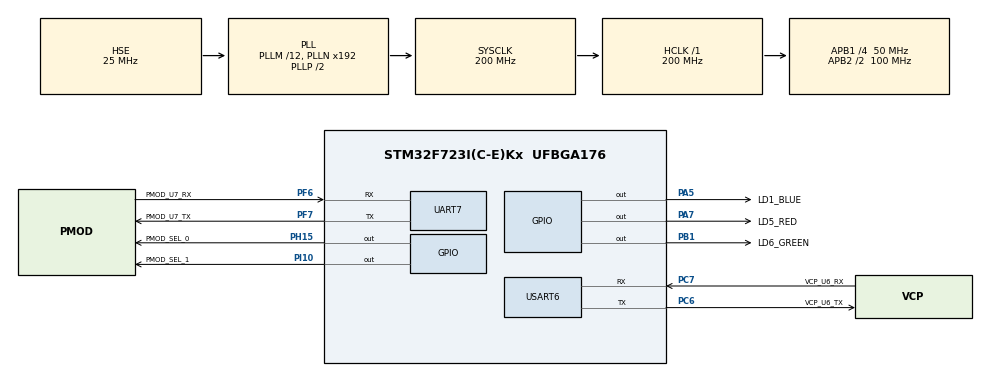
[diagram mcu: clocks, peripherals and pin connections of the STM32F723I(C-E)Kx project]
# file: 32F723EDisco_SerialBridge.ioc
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CORTEX_M7.CPU_ICache=Disabled
CORTEX_M7.PREFETCH_ENABLE=0
Dma.Request0=UART7_TX
Dma.Request1=USART6_TX
Dma.UART7_TX.0.Direction=DMA_MEMORY_TO_PERIPH
Dma.UART7_TX.0.FIFOMode=DMA_FIFOMODE_DISABLE
Dma.UART7_TX.0.Instance=DMA1_Stream1
Dma.UART7_TX.0.MemDataAlignment=DMA_MDATAALIGN_BYTE
Dma.UART7_TX.0.MemInc=DMA_MINC_ENABLE
Dma.UART7_TX.0.Mode=DMA_NORMAL
Dma.UART7_TX.0.PeriphDataAlignment=DMA_PDATAALIGN_BYTE
Dma.UART7_TX.0.PeriphInc=DMA_PINC_DISABLE
Dma.UART7_TX.0.Priority=DMA_PRIORITY_LOW
Dma.USART6_TX.1.Direction=DMA_MEMORY_TO_PERIPH
Dma.USART6_TX.1.FIFOMode=DMA_FIFOMODE_DISABLE
Dma.USART6_TX.1.Instance=DMA2_Stream6
Dma.USART6_TX.1.MemDataAlignment=DMA_MDATAALIGN_BYTE
Dma.USART6_TX.1.MemInc=DMA_MINC_ENABLE
Dma.USART6_TX.1.Mode=DMA_NORMAL
Dma.USART6_TX.1.PeriphDataAlignment=DMA_PDATAALIGN_BYTE
Dma.USART6_TX.1.PeriphInc=DMA_PINC_DISABLE
Dma.USART6_TX.1.Priority=DMA_PRIORITY_LOW
Mcu.Family=STM32F7
Mcu.Name=STM32F723I(C-E)Kx
Mcu.Package=UFBGA176
NVIC.DMA1_Stream1_IRQn=true\:0\:0\:false\:false\:true\:false
NVIC.DMA2_Stream6_IRQn=true\:0\:0\:false\:false\:true\:false
NVIC.PriorityGroup=NVIC_PRIORITYGROUP_4
NVIC.UART7_IRQn=true\:0\:0\:false\:false\:true\:true
NVIC.USART6_IRQn=true\:0\:0\:false\:false\:true\:true
PA5.GPIO_Label=LD1_BLUE
PA5.GPIO_Speed=GPIO_SPEED_FREQ_HIGH
PA5.Signal=GPIO_Output
PA7.GPIO_Label=LD5_RED
PA7.GPIO_Speed=GPIO_SPEED_FREQ_HIGH
PA7.Signal=GPIO_Output
PB1.GPIO_Label=LD6_GREEN
PB1.GPIO_Speed=GPIO_SPEED_FREQ_HIGH
PB1.Signal=GPIO_Output
PC6.GPIO_Label=VCP_U6_TX
PC6.Mode=Asynchronous
PC6.Signal=USART6_TX
PC7.GPIO_Label=VCP_U6_RX
PC7.Mode=Asynchronous
PC7.Signal=USART6_RX
PF6.GPIO_Label=PMOD_U7_RX
PF6.Mode=Asynchronous
PF6.Signal=UART7_RX
PF7.GPIO_Label=PMOD_U7_TX
PF7.Mode=Asynchronous
PF7.Signal=UART7_TX
PH0-OSC_IN.Mode=HSE-External-Oscillator
PH0-OSC_IN.Signal=RCC_OSC_IN
PH1-OSC_OUT.Mode=HSE-External-Oscillator
PH1-OSC_OUT.Signal=RCC_OSC_OUT
PH15.GPIO_Label=PMOD_SEL_0
PH15.GPIO_Speed=GPIO_SPEED_FREQ_HIGH
PH15.Signal=GPIO_Output
PI10.GPIO_Label=PMOD_SEL_1
PI10.GPIO_Speed=GPIO_SPEED_FREQ_HIGH
PI10.Signal=GPIO_Output
ProjectManager.HeapSize=0x200
ProjectManager.StackSize=0x400
ProjectManager.TargetToolchain=SW4STM32
RCC.AHBFreq_Value=200000000
RCC.APB1CLKDivider=RCC_HCLK_DIV4
RCC.APB1Freq_Value=50000000
RCC.APB1TimFreq_Value=100000000
RCC.APB2CLKDivider=RCC_HCLK_DIV2
RCC.APB2Freq_Value=100000000
RCC.APB2TimFreq_Value=200000000
RCC.CortexFreq_Value=200000000
RCC.HCLKFreq_Value=200000000
RCC.HSE_VALUE=25000000
RCC.HSI_VALUE=16000000
RCC.LSE_VALUE=32768
RCC.PLLM=12
RCC.PLLQ=9
RCC.PLLSourceVirtual=RCC_PLLSOURCE_HSE
RCC.SYSCLKFreq_VALUE=200000000
RCC.SYSCLKSource=RCC_SYSCLKSOURCE_PLLCLK
RCC.USBFreq_Value=44444444.44444445
RCC.VCOOutputFreq_Value=400000000
USART6.VirtualMode-Asynchronous=VM_ASYNC
USART6.WordLength=WORDLENGTH_8B
board=STM32F723E-DISCO

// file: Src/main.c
/**
 ******************************************************************************
 * File Name          : main.c
 * Description        : Main program body
 ******************************************************************************
 ** This notice applies to any and all portions of this file
 * that are not between comment pairs USER CODE BEGIN and
 * USER CODE END. Other portions of this file, whether
 * inserted by the user or by software development tools
 * are owned by their respective copyright owners.
 *
 * COPYRIGHT(c) 2017 STMicroelectronics
 *
 * Redistribution and use in source and binary forms, with or without modification,
 * are permitted provided that the following conditions are met:
 *   1. Redistributions of source code must retain the above copyright notice,
 *      this list of conditions and the following disclaimer.
 *   2. Redistributions in binary form must reproduce the above copyright notice,
 *      this list of conditions and the following disclaimer in the documentation
 *      and/or other materials provided with the distribution.
 *   3. Neither the name of STMicroelectronics nor the names of its contributors
 *      may be used to endorse or promote products derived from this software
 *      without specific prior written permission.
 *
 * THIS SOFTWARE IS PROVIDED BY THE COPYRIGHT HOLDERS AND CONTRIBUTORS "AS IS"
 * AND ANY EXPRESS OR IMPLIED WARRANTIES, INCLUDING, BUT NOT LIMITED TO, THE
 * IMPLIED WARRANTIES OF MERCHANTABILITY AND FITNESS FOR A PARTICULAR PURPOSE ARE
 * DISCLAIMED. IN NO EVENT SHALL THE COPYRIGHT HOLDER OR CONTRIBUTORS BE LIABLE
 * FOR ANY DIRECT, INDIRECT, INCIDENTAL, SPECIAL, EXEMPLARY, OR CONSEQUENTIAL
 * DAMAGES (INCLUDING, BUT NOT LIMITED TO, PROCUREMENT OF SUBSTITUTE GOODS OR
 * SERVICES; LOSS OF USE, DATA, OR PROFITS; OR BUSINESS INTERRUPTION) HOWEVER
 * CAUSED AND ON ANY THEORY OF LIABILITY, WHETHER IN CONTRACT, STRICT LIABILITY,
 * OR TORT (INCLUDING NEGLIGENCE OR OTHERWISE) ARISING IN ANY WAY OUT OF THE USE
 * OF THIS SOFTWARE, EVEN IF ADVISED OF THE POSSIBILITY OF SUCH DAMAGE.
 *
 ******************************************************************************
 */
#include "main.h"
#include "stm32f7xx_hal.h"

/* USER CODE BEGIN Includes */
#include "stdbool.h"
#include "string.h"

/* USER CODE END Includes */

UART_HandleTypeDef huart7;
UART_HandleTypeDef huart6;
DMA_HandleTypeDef hdma_uart7_tx;
DMA_HandleTypeDef hdma_usart6_tx;

/* USER CODE BEGIN PV */
/* Private variables ---------------------------------------------------------*/
__IO bool rxUsart7Rdy = false;
__IO bool rxUsart6Rdy = false;
uint8_t rxUsart7Char[BUFFER_SIZE] = {0};
uint8_t rxUsart6Char[BUFFER_SIZE] = {0};

/* USER CODE END PV */

void SystemClock_Config(void);
static void MX_GPIO_Init(void);
static void MX_DMA_Init(void);
static void MX_USART6_UART_Init(void);
static void MX_UART7_Init(void);

/* USER CODE BEGIN PFP */
/* Private function prototypes -----------------------------------------------*/
static void uartSrc2Dest(UART_HandleTypeDef *huartSrc, UART_HandleTypeDef *huartDest, uint8_t *pData);

/* USER CODE END PFP */

int main(void)
{

	/* MCU Configuration----------------------------------------------------------*/

	/* Reset of all peripherals, Initializes the Flash interface and the Systick. */
	HAL_Init();

	/* Configure the system clock */
	SystemClock_Config();

	/* Initialize all configured peripherals */
	MX_GPIO_Init();
	MX_DMA_Init();
	MX_USART6_UART_Init();
	MX_UART7_Init();

	/* USER CODE BEGIN 2 */
	/* Activate PMOD Mux for UART7 configuration */
	HAL_GPIO_WritePin(PMOD_SEL_0_GPIO_Port, PMOD_SEL_0_Pin, GPIO_PIN_SET);

	/* Place USART6 and UART7 into Receive state with Interrupt */
	HAL_UART_Receive_IT(&huart7, (uint8_t *)rxUsart7Char, BUFFER_SIZE);
	HAL_UART_Receive_IT(&huart6, (uint8_t *)rxUsart6Char, BUFFER_SIZE);

	/* USER CODE END 2 */

	/* Infinite loop */
	/* USER CODE BEGIN WHILE */
	while (1)
	{
		/* Process any USART7 incoming char and transmit it to USART6 */
		if (rxUsart7Rdy)
		{
			/* Echo back incoming Char from USART2 to USART6 */
			uartSrc2Dest(&huart7, &huart6, (uint8_t *)rxUsart7Char);
			/* Clear flag */
			rxUsart7Rdy = false;
			/* Reset LD6 Green */
			HAL_GPIO_WritePin(LD6_GREEN_GPIO_Port, LD6_GREEN_Pin, GPIO_PIN_RESET);
		}

		/* Process any USART6 incoming char and transmit it to USART7 */
		else if (rxUsart6Rdy)
		{
			/* Echo back incoming Char from USART6 to USART2 */
			uartSrc2Dest(&huart6, &huart7, (uint8_t *)rxUsart6Char);
			/* Clear flag */
			rxUsart6Rdy = false;
			/* Reset LD1 Blue */
			HAL_GPIO_WritePin(LD1_BLUE_GPIO_Port, LD1_BLUE_Pin, GPIO_PIN_RESET);
		}
		else
		{
			/* Enter in Sleep Mode between each interrupt */
			HAL_PWR_EnterSLEEPMode(PWR_MAINREGULATOR_ON, PWR_SLEEPENTRY_WFI);
		}
		/* USER CODE END WHILE */

	}
}

/** System Clock Configuration
 */
void SystemClock_Config(void)
{

	RCC_OscInitTypeDef RCC_OscInitStruct;
	RCC_ClkInitTypeDef RCC_ClkInitStruct;
	RCC_PeriphCLKInitTypeDef PeriphClkInitStruct;

	/**Configure the main internal regulator output voltage
	 */
	__HAL_RCC_PWR_CLK_ENABLE();

	__HAL_PWR_VOLTAGESCALING_CONFIG(PWR_REGULATOR_VOLTAGE_SCALE1);

	/**Initializes the CPU, AHB and APB busses clocks
	 */
	RCC_OscInitStruct.OscillatorType = RCC_OSCILLATORTYPE_HSE;
	RCC_OscInitStruct.HSEState = RCC_HSE_ON;
	RCC_OscInitStruct.PLL.PLLState = RCC_PLL_ON;
	RCC_OscInitStruct.PLL.PLLSource = RCC_PLLSOURCE_HSE;
	RCC_OscInitStruct.PLL.PLLM = 12;
	RCC_OscInitStruct.PLL.PLLN = 192;
	RCC_OscInitStruct.PLL.PLLP = RCC_PLLP_DIV2;
	RCC_OscInitStruct.PLL.PLLQ = 9;
	if (HAL_RCC_OscConfig(&RCC_OscInitStruct) != HAL_OK)
	{
		_Error_Handler(__FILE__, __LINE__);
	}

	/**Activate the Over-Drive mode
	 */
	if (HAL_PWREx_EnableOverDrive() != HAL_OK)
	{
		_Error_Handler(__FILE__, __LINE__);
	}

	/**Initializes the CPU, AHB and APB busses clocks
	 */
	RCC_ClkInitStruct.ClockType = RCC_CLOCKTYPE_HCLK|RCC_CLOCKTYPE_SYSCLK
			|RCC_CLOCKTYPE_PCLK1|RCC_CLOCKTYPE_PCLK2;
	RCC_ClkInitStruct.SYSCLKSource = RCC_SYSCLKSOURCE_PLLCLK;
	RCC_ClkInitStruct.AHBCLKDivider = RCC_SYSCLK_DIV1;
	RCC_ClkInitStruct.APB1CLKDivider = RCC_HCLK_DIV4;
	RCC_ClkInitStruct.APB2CLKDivider = RCC_HCLK_DIV2;

	if (HAL_RCC_ClockConfig(&RCC_ClkInitStruct, FLASH_LATENCY_6) != HAL_OK)
	{
		_Error_Handler(__FILE__, __LINE__);
	}

	PeriphClkInitStruct.PeriphClockSelection = RCC_PERIPHCLK_USART6|RCC_PERIPHCLK_UART7;
	PeriphClkInitStruct.Usart6ClockSelection = RCC_USART6CLKSOURCE_PCLK2;
	PeriphClkInitStruct.Uart7ClockSelection = RCC_UART7CLKSOURCE_PCLK1;
	if (HAL_RCCEx_PeriphCLKConfig(&PeriphClkInitStruct) != HAL_OK)
	{
		_Error_Handler(__FILE__, __LINE__);
	}

	/**Configure the Systick interrupt time
	 */
	HAL_SYSTICK_Config(HAL_RCC_GetHCLKFreq()/1000);

	/**Configure the Systick
	 */
	HAL_SYSTICK_CLKSourceConfig(SYSTICK_CLKSOURCE_HCLK);

	/* SysTick_IRQn interrupt configuration */
	HAL_NVIC_SetPriority(SysTick_IRQn, 0, 0);
}

/* UART7 init function */
static void MX_UART7_Init(void)
{
	huart7.Instance = UART7;
	huart7.Init.BaudRate = 115200;
	huart7.Init.WordLength = UART_WORDLENGTH_8B;
	huart7.Init.StopBits = UART_STOPBITS_1;
	huart7.Init.Parity = UART_PARITY_NONE;
	huart7.Init.Mode = UART_MODE_TX_RX;
	huart7.Init.HwFlowCtl = UART_HWCONTROL_NONE;
	huart7.Init.OverSampling = UART_OVERSAMPLING_16;
	huart7.Init.OneBitSampling = UART_ONE_BIT_SAMPLE_DISABLE;
	huart7.AdvancedInit.AdvFeatureInit = UART_ADVFEATURE_NO_INIT;
	if (HAL_UART_Init(&huart7) != HAL_OK)
	{
		_Error_Handler(__FILE__, __LINE__);
	}
}

/* USART6 init function */
static void MX_USART6_UART_Init(void)
{
	huart6.Instance = USART6;
	huart6.Init.BaudRate = 115200;
	huart6.Init.WordLength = UART_WORDLENGTH_8B;
	huart6.Init.StopBits = UART_STOPBITS_1;
	huart6.Init.Parity = UART_PARITY_NONE;
	huart6.Init.Mode = UART_MODE_TX_RX;
	huart6.Init.HwFlowCtl = UART_HWCONTROL_NONE;
	huart6.Init.OverSampling = UART_OVERSAMPLING_16;
	huart6.Init.OneBitSampling = UART_ONE_BIT_SAMPLE_DISABLE;
	huart6.AdvancedInit.AdvFeatureInit = UART_ADVFEATURE_NO_INIT;
	if (HAL_UART_Init(&huart6) != HAL_OK)
	{
		_Error_Handler(__FILE__, __LINE__);
	}

}

static void MX_DMA_Init(void)
{
	/* DMA controller clock enable */
	__HAL_RCC_DMA1_CLK_ENABLE();
	__HAL_RCC_DMA2_CLK_ENABLE();

	/* DMA interrupt init */
	/* DMA1_Stream1_IRQn interrupt configuration */
	HAL_NVIC_SetPriority(DMA1_Stream1_IRQn, 0, 0);
	HAL_NVIC_EnableIRQ(DMA1_Stream1_IRQn);
	/* DMA2_Stream6_IRQn interrupt configuration */
	HAL_NVIC_SetPriority(DMA2_Stream6_IRQn, 0, 0);
	HAL_NVIC_EnableIRQ(DMA2_Stream6_IRQn);
}

/** Configure pins as
 * Analog
 * Input
 * Output
 * EVENT_OUT
 * EXTI
 */
static void MX_GPIO_Init(void)
{
	GPIO_InitTypeDef GPIO_InitStruct;

	/* GPIO Ports Clock Enable */
	__HAL_RCC_GPIOH_CLK_ENABLE();
	__HAL_RCC_GPIOI_CLK_ENABLE();
	__HAL_RCC_GPIOC_CLK_ENABLE();
	__HAL_RCC_GPIOF_CLK_ENABLE();
	__HAL_RCC_GPIOA_CLK_ENABLE();
	__HAL_RCC_GPIOB_CLK_ENABLE();

	/*Configure GPIO pin Output Level */
	HAL_GPIO_WritePin(PMOD_SEL_0_GPIO_Port, PMOD_SEL_0_Pin, GPIO_PIN_RESET);

	/*Configure GPIO pin Output Level */
	HAL_GPIO_WritePin(PMOD_SEL_1_GPIO_Port, PMOD_SEL_1_Pin, GPIO_PIN_RESET);

	/*Configure GPIO pin Output Level */
	HAL_GPIO_WritePin(GPIOA, LD1_BLUE_Pin|LD5_RED_Pin, GPIO_PIN_RESET);

	/*Configure GPIO pin Output Level */
	HAL_GPIO_WritePin(LD6_GREEN_GPIO_Port, LD6_GREEN_Pin, GPIO_PIN_RESET);

	/*Configure GPIO pin : PMOD_SEL_0_Pin */
	GPIO_InitStruct.Pin = PMOD_SEL_0_Pin;
	GPIO_InitStruct.Mode = GPIO_MODE_OUTPUT_PP;
	GPIO_InitStruct.Pull = GPIO_NOPULL;
	GPIO_InitStruct.Speed = GPIO_SPEED_FREQ_HIGH;
	HAL_GPIO_Init(PMOD_SEL_0_GPIO_Port, &GPIO_InitStruct);

	/*Configure GPIO pin : PMOD_SEL_1_Pin */
	GPIO_InitStruct.Pin = PMOD_SEL_1_Pin;
	GPIO_InitStruct.Mode = GPIO_MODE_OUTPUT_PP;
	GPIO_InitStruct.Pull = GPIO_NOPULL;
	GPIO_InitStruct.Speed = GPIO_SPEED_FREQ_HIGH;
	HAL_GPIO_Init(PMOD_SEL_1_GPIO_Port, &GPIO_InitStruct);

	/*Configure GPIO pins : LD1_BLUE_Pin LD5_RED_Pin */
	GPIO_InitStruct.Pin = LD1_BLUE_Pin|LD5_RED_Pin;
	GPIO_InitStruct.Mode = GPIO_MODE_OUTPUT_PP;
	GPIO_InitStruct.Pull = GPIO_NOPULL;
	GPIO_InitStruct.Speed = GPIO_SPEED_FREQ_HIGH;
	HAL_GPIO_Init(GPIOA, &GPIO_InitStruct);

	/*Configure GPIO pin : LD6_GREEN_Pin */
	GPIO_InitStruct.Pin = LD6_GREEN_Pin;
	GPIO_InitStruct.Mode = GPIO_MODE_OUTPUT_PP;
	GPIO_InitStruct.Pull = GPIO_NOPULL;
	GPIO_InitStruct.Speed = GPIO_SPEED_FREQ_HIGH;
	HAL_GPIO_Init(LD6_GREEN_GPIO_Port, &GPIO_InitStruct);
}

/* USER CODE BEGIN 4 */
static void uartSrc2Dest(UART_HandleTypeDef *huartSrc, UART_HandleTypeDef *huartDest, uint8_t *pData)
{
	//	if(HAL_UART_GetState(huartDest) == HAL_UART_STATE_READY)
	//	{
	/* Flushes the UART DR register */
	__HAL_UART_FLUSH_DRREGISTER(huartDest);
	__HAL_UART_FLUSH_DRREGISTER(huartSrc);

	/* Echo Back received data from Src to Dest */
	HAL_UART_Transmit_DMA(huartDest, (uint8_t *)pData, BUFFER_SIZE);
	//	}
	//	else { _Error_Handler(__FILE__, __LINE__); };
}

/**
 * @brief Rx Transfer completed callbacks
 * @param huart: uart handle
 * @retval None
 */
void HAL_UART_RxCpltCallback(UART_HandleTypeDef *huart)
{
	/* USART7 Rx interrupt callback manager */
	if (huart == &huart7)
	{
		/* Set LD6 Green */
		HAL_GPIO_WritePin(LD6_GREEN_GPIO_Port, LD6_GREEN_Pin, GPIO_PIN_SET);
		/* A Data is available into USART7 Register */
		rxUsart7Rdy = true;
	}

	/* USART6 Rx interrupt callback manager */
	if (huart == &huart6)
	{
		/* Set LD1 Blue */
		HAL_GPIO_WritePin(LD1_BLUE_GPIO_Port, LD1_BLUE_Pin, GPIO_PIN_SET);
		/* A Data is available into USART6 Register */
		rxUsart6Rdy = true;
	}

	/* Because HAL_UART_RxCpltCallback disable TXIE we must re-activate it */
	/* Place USART6 and UART7 into Receiver mode with Interrupt */
	HAL_UART_Receive_IT(&huart6, (uint8_t *)rxUsart6Char, BUFFER_SIZE);
	HAL_UART_Receive_IT(&huart7, (uint8_t *)rxUsart7Char, BUFFER_SIZE);
}

/**
 * @brief  SYSTICK callback.
 * @retval None
 */
void HAL_SYSTICK_Callback(void)
{
}

/* USER CODE END 4 */

void _Error_Handler(char * file, int line)
{
	/* USER CODE BEGIN Error_Handler_Debug */
	/* User can add his own implementation to report the HAL error return state */
	while(1)
	{
		HAL_GPIO_TogglePin(LD5_RED_GPIO_Port, LD5_RED_Pin);
		HAL_Delay(1000);
	}
	/* USER CODE END Error_Handler_Debug */
}

/************************ (C) COPYRIGHT STMicroelectronics *****END OF FILE****/
